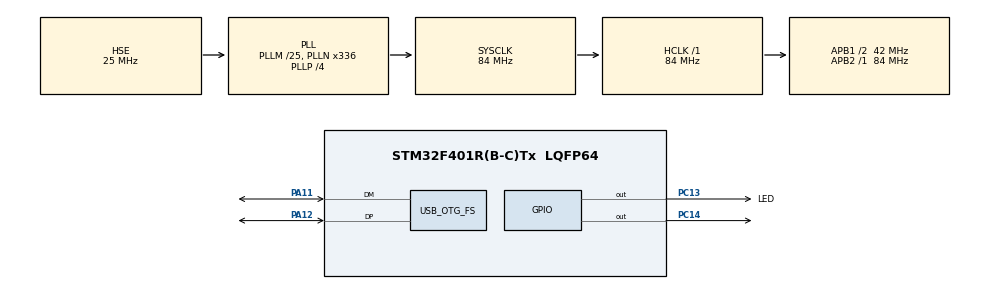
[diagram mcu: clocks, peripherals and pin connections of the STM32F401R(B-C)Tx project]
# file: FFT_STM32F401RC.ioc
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Mcu.Family=STM32F4
Mcu.Name=STM32F401R(B-C)Tx
Mcu.Package=LQFP64
NVIC.OTG_FS_IRQn=true\:0\:0\:false\:false\:true\:false\:true\:true
NVIC.PriorityGroup=NVIC_PRIORITYGROUP_4
PA11.Mode=Device_Only
PA11.Signal=USB_OTG_FS_DM
PA12.Mode=Device_Only
PA12.Signal=USB_OTG_FS_DP
PA13.Mode=Serial_Wire
PA13.Signal=SYS_JTMS-SWDIO
PA14.Mode=Serial_Wire
PA14.Signal=SYS_JTCK-SWCLK
PC13-ANTI_TAMP.GPIO_Label=LED
PC13-ANTI_TAMP.Signal=GPIO_Output
PC14-OSC32_IN.Signal=GPIO_Output
PH0\ -\ OSC_IN.Mode=HSE-External-Oscillator
PH0\ -\ OSC_IN.Signal=RCC_OSC_IN
PH1\ -\ OSC_OUT.Mode=HSE-External-Oscillator
PH1\ -\ OSC_OUT.Signal=RCC_OSC_OUT
ProjectManager.HeapSize=0x200
ProjectManager.StackSize=0x400
ProjectManager.TargetToolchain=STM32CubeIDE
RCC.48MHZClocksFreq_Value=48000000
RCC.AHBFreq_Value=84000000
RCC.APB1CLKDivider=RCC_HCLK_DIV2
RCC.APB1Freq_Value=42000000
RCC.APB1TimFreq_Value=84000000
RCC.APB2Freq_Value=84000000
RCC.APB2TimFreq_Value=84000000
RCC.CortexFreq_Value=84000000
RCC.HCLKFreq_Value=84000000
RCC.HSE_VALUE=25000000
RCC.HSI_VALUE=16000000
RCC.LSE_VALUE=32768
RCC.PLLM=25
RCC.PLLN=336
RCC.PLLP=RCC_PLLP_DIV4
RCC.PLLQ=7
RCC.SYSCLKFreq_VALUE=84000000
RCC.SYSCLKSource=RCC_SYSCLKSOURCE_PLLCLK
RCC.VCOOutputFreq_Value=336000000
USB_DEVICE.CLASS_NAME_FS=CDC
USB_DEVICE.VirtualMode=Cdc
USB_DEVICE.VirtualModeFS=Cdc_FS
USB_OTG_FS.VirtualMode=Device_Only
VP_USB_DEVICE_VS_USB_DEVICE_CDC_FS.Mode=CDC_FS
board=custom

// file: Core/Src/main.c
/* USER CODE BEGIN Header */
/**
 ******************************************************************************
 * @file           : main.c
 * @brief          : Main program body
 ******************************************************************************
 * @attention
 *
 * Copyright (c) 2025 STMicroelectronics.
 * All rights reserved.
 *
 * This software is licensed under terms that can be found in the LICENSE file
 * in the root directory of this software component.
 * If no LICENSE file comes with this software, it is provided AS-IS.
 *
 ******************************************************************************
 */
/* USER CODE END Header */
#include "main.h"
// #include "usb_device.h"
#include "gpio.h"

/* USER CODE BEGIN Includes */
#include "fft.h"              // 包含自定义的 FFT 头文件
#include <math.h>             // 包含数学库
#include <stdio.h>            // 添加: 包含标准输入输出库 (用于 sprintf)
#include <string.h>           // 添加: 包含字符串库 (用于 strlen)
#include "all_DLC_includes.h" // 包含STM32USB库
/* USER CODE END Includes */

/* USER CODE BEGIN PD */
// 定义 USB CDC 接收缓冲区大小 (需要与 usbd_cdc_if.c 中的 APP_RX_DATA_SIZE 匹配，通常是 64 或 2048)
// 如果不确定，可以先定义为较大的值，例如 256
#define USB_RX_BUFFER_SIZE 256

#define ADC_BUFFER_SIZE FFT_N // 假设 ADC 采样点数与 FFT 点数相同
// --- 采样频率 (固定) ---
#define SAMPLING_FREQ 48000.0f // 假设的采样频率 (Hz)
/* USER CODE END PD */

/* USER CODE BEGIN PV */

// --- 当前信号参数 (可由 USB 更新) ---
// 使用 volatile 确保编译器不会过度优化对这些变量的访问
volatile float current_signal_freq = 1000.0f;   // 当前正弦波频率 (Hz)
volatile float current_signal_amplitude = 1.0f; // 当前正弦波幅度
volatile float current_signal_offset = 0.0f;    // 当前正弦波直流偏移
volatile uint8_t new_parameters_received = 1;   // 标志位，指示是否收到新参数 (初始设为1，以便启动时计算一次)

// --- USB 缓冲区 ---
char usb_tx_buffer[128];                   // 用于格式化输出的缓冲区
uint8_t usb_rx_buffer[USB_RX_BUFFER_SIZE]; // USB CDC 接收缓冲区

// --- FFT 相关缓冲区 ---
float adc_samples[ADC_BUFFER_SIZE]; // 存储生成的采样数据的数组
complex_t fft_input_output[FFT_N];  // FFT 输入/输出缓冲区 (复数形式)
float fft_magnitudes[FFT_N / 2];    // 存储 FFT 幅度结果的数组

/* USER CODE END PV */

void SystemClock_Config(void);
/* USER CODE BEGIN PFP */
// 函数声明：执行 FFT 计算并发送结果
void perform_fft_and_send(void);
// 函数声明：处理接收到的 USB 数据 (将在 CDC_Receive_FS 中调用)
void process_usb_data(uint8_t *Buf, uint32_t Len);
/* USER CODE END PFP */

/* USER CODE BEGIN 0 */

/**
 * @brief 更新信号参数的函数 (供 usbd_cdc_if 调用)
 * @param freq: 新频率
 * @param amp: 新幅度
 * @param offset: 新偏移
 */
void Update_Signal_Parameters(float freq, float amp, float offset)
{
  // 添加参数验证和调试输出
  sprintf(usb_tx_buffer, "DEBUG-U: Params: F=%.2f, A=%.2f, O=%.2f\r\n", freq, amp, offset);
  CDC_Transmit_FS((uint8_t *)usb_tx_buffer, strlen(usb_tx_buffer));

  // 增加范围限制，防止无效值
  if (freq >= 1.0f && freq <= (SAMPLING_FREQ / 2.0f))
  {
    current_signal_freq = freq;
  }
  if (amp >= 0.0f)
  {
    current_signal_amplitude = amp;
  }
  current_signal_offset = offset;
}

/**
 * @brief 设置标志位以触发 FFT 重新计算 (供 usbd_cdc_if 调用)
 */
void Trigger_FFT_Recalculation(void)
{
  // 添加调试输出，查看标志状态
  sprintf(usb_tx_buffer, "DEBUG-T: Flag before=%d\r\n", (int)new_parameters_received);
  CDC_Transmit_FS((uint8_t *)usb_tx_buffer, strlen(usb_tx_buffer));

  // 设置标志位
  new_parameters_received = 1;

  // 设置后再次检查并输出，确认设置成功
  sprintf(usb_tx_buffer, "DEBUG-T: Flag after=%d\r\n", (int)new_parameters_received);
  CDC_Transmit_FS((uint8_t *)usb_tx_buffer, strlen(usb_tx_buffer));

  // 添加一个内存屏障操作，确保标志位值立即可见（防止编译器优化）
  __DSB(); // 数据同步屏障
}

/**
 * @brief 生成正弦波，执行 FFT 并通过 USB 发送结果
 */
void perform_fft_and_send(void)
{
  // ... perform_fft_and_send 函数的实现保持不变 ...
  // --- 1. 使用当前参数生成模拟正弦波信号 ---
  // 读取 volatile 变量到局部变量，避免在循环中重复读取
  float freq = current_signal_freq;
  float amp = current_signal_amplitude;
  float offset = current_signal_offset;

  for (int i = 0; i < ADC_BUFFER_SIZE; i++)
  {
    adc_samples[i] = amp * sinf(2.0f * M_PI * freq * (float)i / SAMPLING_FREQ) + offset;
  }

  // --- 2. 准备 FFT 输入缓冲区 ---
  for (int i = 0; i < FFT_N; i++)
  {
    if (i < ADC_BUFFER_SIZE)
    {
      fft_input_output[i].real = adc_samples[i];
    }
    else
    {
      fft_input_output[i].real = 0.0f; // 零填充
    }
    fft_input_output[i].imag = 0.0f; // 虚部初始化为 0
  }

  // --- 3. 执行 FFT 计算 ---
  fft_radix2(fft_input_output, FFT_N);

  // --- 4. 计算 FFT 结果的幅度 ---
  fft_calculate_magnitudes(fft_input_output, fft_magnitudes, FFT_N);

  // --- 5. 通过 USB VCP 发送 FFT 幅度结果 ---
  sprintf(usb_tx_buffer, "--- FFT Magnitudes (F:%.1fHz A:%.2f O:%.2f) ---\r\n", freq, amp, offset);
  CDC_Transmit_FS((uint8_t *)usb_tx_buffer, strlen(usb_tx_buffer));
  HAL_Delay(10); // 短暂延时

  for (uint32_t i = 0; i < FFT_N / 2; i++)
  {
    int len = sprintf(usb_tx_buffer, "FFT[%lu]: %.4f\r\n", i, fft_magnitudes[i]);
    uint8_t result = CDC_Transmit_FS((uint8_t *)usb_tx_buffer, len);
    if (result != USBD_OK)
    {
      HAL_Delay(1); // 发送失败时短暂延时
                    // 可以添加重试逻辑或错误计数
    }
    HAL_Delay(2); // 每行之间短暂延时，防止发送过快
  }

  sprintf(usb_tx_buffer, "--- FFT Transmission Complete ---\r\n");
  CDC_Transmit_FS((uint8_t *)usb_tx_buffer, strlen(usb_tx_buffer));
  HAL_Delay(10); // 发送完成后的短暂延时

  // --- 6. (可选) 计算并发送峰值频率 ---
  float max_magnitude = 0;
  uint32_t max_index = 0;
  for (uint32_t i = 1; i < FFT_N / 2; i++) // 忽略直流分量
  {
    if (fft_magnitudes[i] > max_magnitude)
    {
      max_magnitude = fft_magnitudes[i];
      max_index = i;
    }
  }
  float fundamental_frequency = (float)max_index * SAMPLING_FREQ / FFT_N;
  sprintf(usb_tx_buffer, "Peak Frequency Index: %lu (%.2f Hz)\r\n", max_index, fundamental_frequency);
  CDC_Transmit_FS((uint8_t *)usb_tx_buffer, strlen(usb_tx_buffer));
  HAL_Delay(10);
}
/* USER CODE END 0 */

int main(void)
{

  /* MCU Configuration--------------------------------------------------------*/

  /* Reset of all peripherals, Initializes the Flash interface and the Systick. */
  HAL_Init();

  /* Configure the system clock */
  SystemClock_Config();

  /* Initialize all configured peripherals */
  MX_GPIO_Init();
  MX_USB_DEVICE_Init();
  /* USER CODE BEGIN 2 */
  HAL_Delay(3000); // 等我插上USB

  /* USER CODE END 2 */

  /* Infinite loop */
  /* USER CODE BEGIN WHILE */
  while (1)
  {
    // 每隔几秒发送一次当前参数状态，以便诊断
    static uint32_t lastDebugTime = 0;
    uint32_t currentTime = HAL_GetTick();

    if (currentTime - lastDebugTime > 3000) // 每3秒发送一次
    {
      lastDebugTime = currentTime;
      sprintf(usb_tx_buffer, "DEBUG: Flag=%d, F=%.1f, A=%.2f, O=%.2f\r\n",
              (int)new_parameters_received,
              current_signal_freq,
              current_signal_amplitude,
              current_signal_offset);
      CDC_Transmit_FS((uint8_t *)usb_tx_buffer, strlen(usb_tx_buffer));
    }

    if (new_parameters_received)
    {
      new_parameters_received = 0;                // 清除标志位
      perform_fft_and_send();                     // 执行 FFT 计算和发送
      HAL_GPIO_TogglePin(LED_GPIO_Port, LED_Pin); // 切换 LED 状态，指示处理完成
    }

    // 主循环可以执行其他低优先级任务
    HAL_Delay(10); // 短暂延时，降低 CPU 占用率，但会影响响应速度
  }
  /* USER CODE END WHILE */

}

void SystemClock_Config(void)
{
  RCC_OscInitTypeDef RCC_OscInitStruct = {0};
  RCC_ClkInitTypeDef RCC_ClkInitStruct = {0};

  /** Configure the main internal regulator output voltage
   */
  __HAL_RCC_PWR_CLK_ENABLE();
  __HAL_PWR_VOLTAGESCALING_CONFIG(PWR_REGULATOR_VOLTAGE_SCALE2);

  /** Initializes the RCC Oscillators according to the specified parameters
   * in the RCC_OscInitTypeDef structure.
   */
  RCC_OscInitStruct.OscillatorType = RCC_OSCILLATORTYPE_HSE;
  RCC_OscInitStruct.HSEState = RCC_HSE_ON;
  RCC_OscInitStruct.PLL.PLLState = RCC_PLL_ON;
  RCC_OscInitStruct.PLL.PLLSource = RCC_PLLSOURCE_HSE;
  RCC_OscInitStruct.PLL.PLLM = 25;
  RCC_OscInitStruct.PLL.PLLN = 336;
  RCC_OscInitStruct.PLL.PLLP = RCC_PLLP_DIV4;
  RCC_OscInitStruct.PLL.PLLQ = 7;
  if (HAL_RCC_OscConfig(&RCC_OscInitStruct) != HAL_OK)
  {
    Error_Handler();
  }

  /** Initializes the CPU, AHB and APB buses clocks
   */
  RCC_ClkInitStruct.ClockType = RCC_CLOCKTYPE_HCLK | RCC_CLOCKTYPE_SYSCLK | RCC_CLOCKTYPE_PCLK1 | RCC_CLOCKTYPE_PCLK2;
  RCC_ClkInitStruct.SYSCLKSource = RCC_SYSCLKSOURCE_PLLCLK;
  RCC_ClkInitStruct.AHBCLKDivider = RCC_SYSCLK_DIV1;
  RCC_ClkInitStruct.APB1CLKDivider = RCC_HCLK_DIV2;
  RCC_ClkInitStruct.APB2CLKDivider = RCC_HCLK_DIV1;

  if (HAL_RCC_ClockConfig(&RCC_ClkInitStruct, FLASH_LATENCY_2) != HAL_OK)
  {
    Error_Handler();
  }
}

void Error_Handler(void)
{
  __disable_irq();
  while (1)
  {
  }
}
